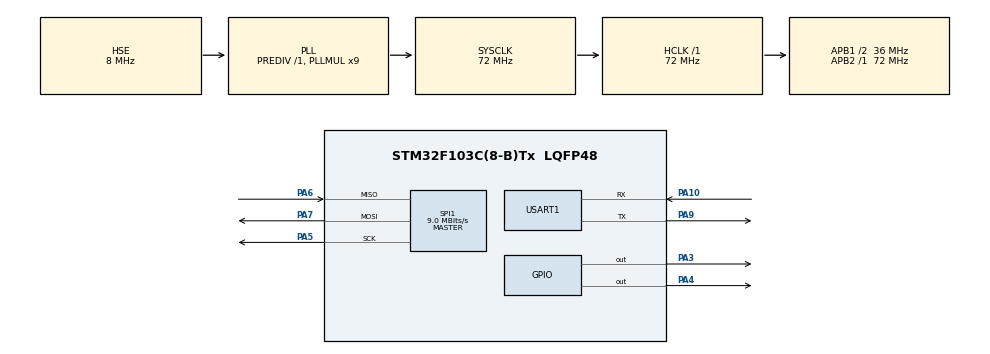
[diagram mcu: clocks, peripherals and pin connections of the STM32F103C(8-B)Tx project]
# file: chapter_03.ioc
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Mcu.Family=STM32F1
Mcu.Name=STM32F103C(8-B)Tx
Mcu.Package=LQFP48
NVIC.PriorityGroup=NVIC_PRIORITYGROUP_4
PA10.Mode=Asynchronous
PA10.Signal=USART1_RX
PA13.Mode=Serial_Wire
PA13.Signal=SYS_JTMS-SWDIO
PA14.Mode=Serial_Wire
PA14.Signal=SYS_JTCK-SWCLK
PA3.PinState=GPIO_PIN_SET
PA3.Signal=GPIO_Output
PA4.PinState=GPIO_PIN_SET
PA4.Signal=GPIO_Output
PA5.Mode=Full_Duplex_Master
PA5.Signal=SPI1_SCK
PA6.Mode=Full_Duplex_Master
PA6.Signal=SPI1_MISO
PA7.Mode=Full_Duplex_Master
PA7.Signal=SPI1_MOSI
PA9.Mode=Asynchronous
PA9.Signal=USART1_TX
PD0-OSC_IN.Mode=HSE-External-Oscillator
PD0-OSC_IN.Signal=RCC_OSC_IN
PD1-OSC_OUT.Mode=HSE-External-Oscillator
PD1-OSC_OUT.Signal=RCC_OSC_OUT
ProjectManager.HeapSize=0x200
ProjectManager.StackSize=0x400
ProjectManager.TargetToolchain=MDK-ARM V5.32
RCC.AHBFreq_Value=72000000
RCC.APB1CLKDivider=RCC_HCLK_DIV2
RCC.APB1Freq_Value=36000000
RCC.APB1TimFreq_Value=72000000
RCC.APB2Freq_Value=72000000
RCC.APB2TimFreq_Value=72000000
RCC.HCLKFreq_Value=72000000
RCC.PLLMUL=RCC_PLL_MUL9
RCC.PLLSourceVirtual=RCC_PLLSOURCE_HSE
RCC.SYSCLKFreq_VALUE=72000000
RCC.SYSCLKSource=RCC_SYSCLKSOURCE_PLLCLK
RCC.USBFreq_Value=72000000
SPI1.BaudRatePrescaler=SPI_BAUDRATEPRESCALER_8
SPI1.CalculateBaudRate=9.0 MBits/s
SPI1.Direction=SPI_DIRECTION_2LINES
SPI1.Mode=SPI_MODE_MASTER
SPI1.VirtualType=VM_MASTER
USART1.VirtualMode=VM_ASYNC
board=custom

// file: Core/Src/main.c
/* USER CODE BEGIN Header */
/**
  ******************************************************************************
  * @file           : main.c
  * @brief          : Main program body
  ******************************************************************************
  * @attention
  *
  * Copyright (c) 2026 STMicroelectronics.
  * All rights reserved.
  *
  * This software is licensed under terms that can be found in the LICENSE file
  * in the root directory of this software component.
  * If no LICENSE file comes with this software, it is provided AS-IS.
  *
  ******************************************************************************
  */
/* USER CODE END Header */
#include "main.h"
#include "spi.h"
#include "usart.h"
#include "gpio.h"

/* USER CODE BEGIN Includes */
#include <stdio.h>
#include <string.h>
#include "rc522.h"
/* USER CODE END Includes */

void SystemClock_Config(void);

int main(void)
{

  /* MCU Configuration--------------------------------------------------------*/

  /* Reset of all peripherals, Initializes the Flash interface and the Systick. */
  HAL_Init();

  /* Configure the system clock */
  SystemClock_Config();

  /* Initialize all configured peripherals */
  MX_GPIO_Init();
  MX_SPI1_Init();
  MX_USART1_UART_Init();
  /* USER CODE BEGIN 2 */

	RC522_Init();
	HAL_Delay(100);

	uint8_t version = RC522_ReadReg(VersionReg);
	printf("RC522 Version: 0x%02X\r\n", version);

	if (version == 0x91 || version == 0x92) {
			printf("MFRC522 Version %d.0 detected.\r\n", version & 0x0F);
	} else {
			printf("RC522 communication error!\r\n");
			while (1);
	}

  /* USER CODE END 2 */

  /* Infinite loop */
  while (1)
  {

    /* USER CODE BEGIN 3 */
		uint8_t tagType[2];
		uint8_t uid[4];
		uint8_t lastUid[4] = {0};
		uint8_t cardPresent = 0;
		uint8_t st;

		st = RC522_Request(PICC_REQALL, tagType);

		if (st == MI_OK) {
				st = RC522_Anticoll(uid);
				if (st == MI_OK) {
						if (memcmp(uid, lastUid, 4) != 0 || !cardPresent) {
								printf("Card UID: %02X %02X %02X %02X\r\n",
											 uid[0], uid[1], uid[2], uid[3]);
								memcpy(lastUid, uid, 4);
								cardPresent = 1;
						}
						RC522_Halt();
				}
		} else {
				cardPresent = 0;
		}

		HAL_Delay(500);
  }
  /* USER CODE END 3 */
}

void SystemClock_Config(void)
{
  RCC_OscInitTypeDef RCC_OscInitStruct = {0};
  RCC_ClkInitTypeDef RCC_ClkInitStruct = {0};

  /** Initializes the RCC Oscillators according to the specified parameters
  * in the RCC_OscInitTypeDef structure.
  */
  RCC_OscInitStruct.OscillatorType = RCC_OSCILLATORTYPE_HSE;
  RCC_OscInitStruct.HSEState = RCC_HSE_ON;
  RCC_OscInitStruct.HSEPredivValue = RCC_HSE_PREDIV_DIV1;
  RCC_OscInitStruct.HSIState = RCC_HSI_ON;
  RCC_OscInitStruct.PLL.PLLState = RCC_PLL_ON;
  RCC_OscInitStruct.PLL.PLLSource = RCC_PLLSOURCE_HSE;
  RCC_OscInitStruct.PLL.PLLMUL = RCC_PLL_MUL9;
  if (HAL_RCC_OscConfig(&RCC_OscInitStruct) != HAL_OK)
  {
    Error_Handler();
  }

  /** Initializes the CPU, AHB and APB buses clocks
  */
  RCC_ClkInitStruct.ClockType = RCC_CLOCKTYPE_HCLK|RCC_CLOCKTYPE_SYSCLK
                              |RCC_CLOCKTYPE_PCLK1|RCC_CLOCKTYPE_PCLK2;
  RCC_ClkInitStruct.SYSCLKSource = RCC_SYSCLKSOURCE_PLLCLK;
  RCC_ClkInitStruct.AHBCLKDivider = RCC_SYSCLK_DIV1;
  RCC_ClkInitStruct.APB1CLKDivider = RCC_HCLK_DIV2;
  RCC_ClkInitStruct.APB2CLKDivider = RCC_HCLK_DIV1;

  if (HAL_RCC_ClockConfig(&RCC_ClkInitStruct, FLASH_LATENCY_2) != HAL_OK)
  {
    Error_Handler();
  }
}

/* USER CODE BEGIN 4 */
int fputc(int ch, FILE *f)
{
    HAL_UART_Transmit(&huart1, (uint8_t *)&ch, 1, 100);
    return ch;
}
/* USER CODE END 4 */

void Error_Handler(void)
{
  __disable_irq();
  while (1)
  {
  }
}
